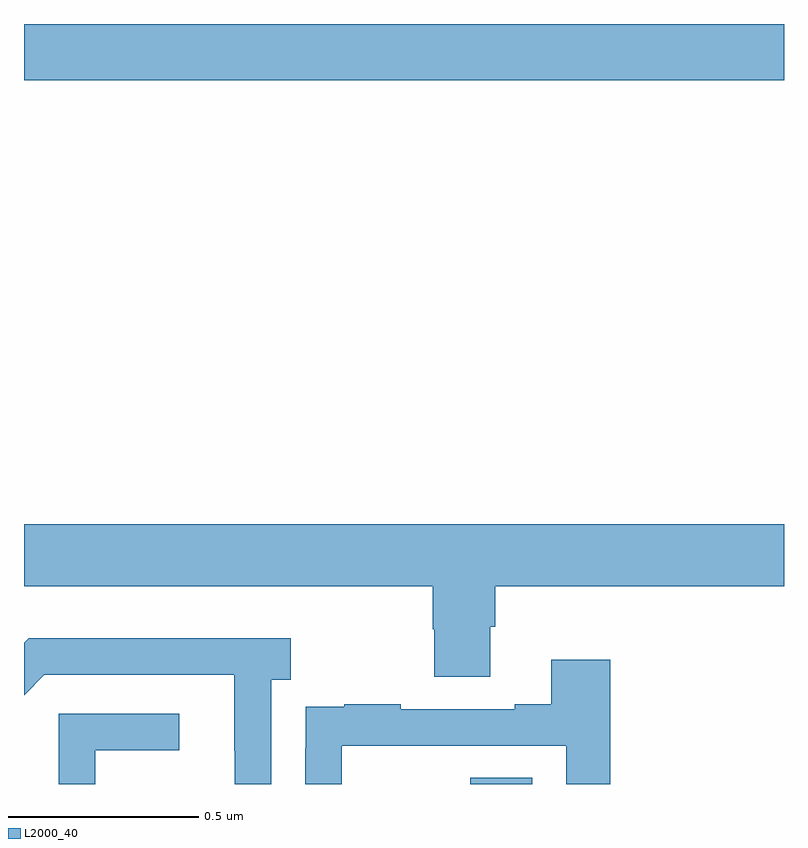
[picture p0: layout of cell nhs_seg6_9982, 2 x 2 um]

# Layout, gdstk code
import gdstk
lib = gdstk.Library(unit=1e-6, precision=1e-09)
def R(c, l, rs):  # rectangles x0, y0, x1, y1
    for r in rs: c.add(gdstk.rectangle(r[:2], r[2:], *l))
def P(c, l, *ps):  # polygons
    for p in ps: c.add(gdstk.Polygon(p, *l))
L2000_40 = (2000, 40)

nhs_seg6_9982 = lib.new_cell('nhs_seg6_9982')
R(nhs_seg6_9982, L2000_40, [(242.174,929.5,242.338,929.516), (241,931.352,243,931.5)])
P(nhs_seg6_9982, L2000_40, [(241,930.02),(242.075,930.02),(242.075,929.907),(242.08,929.907),(242.08,929.782),(242.227,929.782),(242.227,929.914),(242.24,929.914),(242.24,930.02),(243,930.02),(243,930.184),(241,930.184)],
  [(241.65,929.774),(241.702,929.774),(241.702,929.884),(241.012,929.884),(241,929.872),(241,929.734),(241.053,929.787),(241.553,929.787),(241.553,929.587),(241.554,929.587),(241.554,929.5),(241.65,929.5)],
  [(241.836,929.601),(242.427,929.601),(242.427,929.5),(242.543,929.5),(242.543,929.827),(242.387,929.827),(242.387,929.71),(242.291,929.71),(242.291,929.697),(241.991,929.697),(241.991,929.71),(241.843,929.71),(241.843,929.703),(241.741,929.703),(241.741,929.594),(241.74,929.594),(241.74,929.5),(241.836,929.5)],
  [(241.188,929.589),(241.408,929.589),(241.408,929.685),(241.092,929.685),(241.092,929.5),(241.188,929.5)])

lib.write_gds('nhs_seg6_9982.gds')
